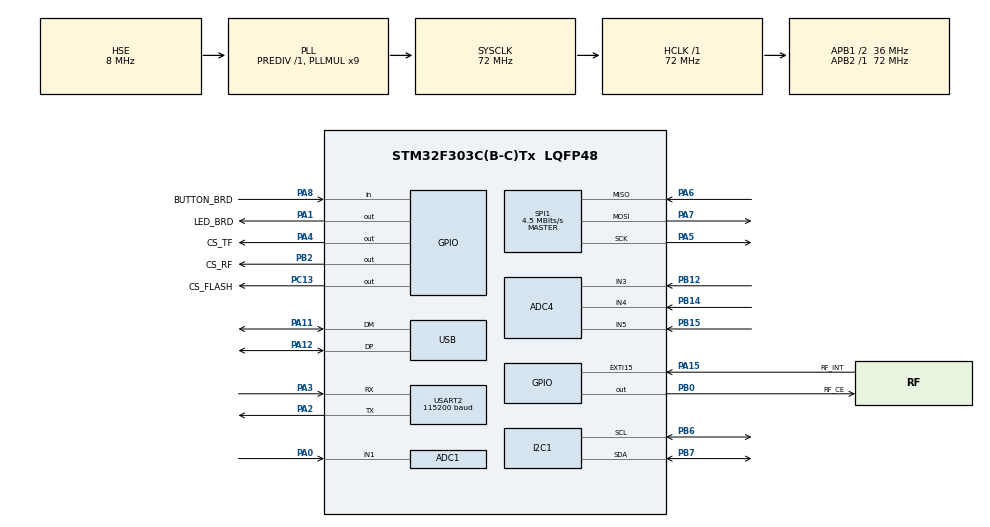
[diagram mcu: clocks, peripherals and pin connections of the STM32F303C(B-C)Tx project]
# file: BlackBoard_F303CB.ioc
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ADC1.Channel-0\#ChannelRegularConversion=ADC_CHANNEL_1
ADC1.NbrOfConversionFlag=1
ADC1.Offset-0\#ChannelRegularConversion=0
ADC1.OffsetNumber-0\#ChannelRegularConversion=ADC_OFFSET_NONE
ADC1.Rank-0\#ChannelRegularConversion=1
ADC1.SamplingTime-0\#ChannelRegularConversion=ADC_SAMPLETIME_1CYCLE_5
ADC1.master=1
ADC4.Channel-0\#ChannelRegularConversion=ADC_CHANNEL_3
ADC4.NbrOfConversionFlag=1
ADC4.Offset-0\#ChannelRegularConversion=0
ADC4.OffsetNumber-0\#ChannelRegularConversion=ADC_OFFSET_NONE
ADC4.Rank-0\#ChannelRegularConversion=1
ADC4.SamplingTime-0\#ChannelRegularConversion=ADC_SAMPLETIME_1CYCLE_5
Dma.Request0=USART2_RX
Dma.USART2_RX.0.Direction=DMA_PERIPH_TO_MEMORY
Dma.USART2_RX.0.Instance=DMA1_Channel6
Dma.USART2_RX.0.MemDataAlignment=DMA_MDATAALIGN_BYTE
Dma.USART2_RX.0.MemInc=DMA_MINC_ENABLE
Dma.USART2_RX.0.Mode=DMA_NORMAL
Dma.USART2_RX.0.PeriphDataAlignment=DMA_PDATAALIGN_BYTE
Dma.USART2_RX.0.PeriphInc=DMA_PINC_DISABLE
Dma.USART2_RX.0.Priority=DMA_PRIORITY_LOW
FREERTOS.Events01=EventComTask,Static,myEvent01ControlBlock
FREERTOS.Tasks01=defaultTask,24,128,Task1ms,Default,NULL,Static,defaultTaskBuffer,defaultTaskControlBlock;myTask02,8,128,Task10ms,Default,NULL,Static,myTask02Buffer,myTask02ControlBlock;Task_Comm,8,128,CommTask,Default,NULL,Static,myTask03Buffer,myTask03ControlBlock
I2C1.Timing=0x00201D2B
Mcu.Family=STM32F3
Mcu.Name=STM32F303C(B-C)Tx
Mcu.Package=LQFP48
Mcu.UserConstants=ESP_AT_RESPONSE_EVENT_FLAG_MASK,0x00000002uL;USB_EVENT_FLAG_MASK,0x00000004uL;ESP_AT_REPORT_EVENT_FLAG_MASK,0x00000001uL
NVIC.DMA1_Channel6_IRQn=true\:5\:0\:false\:false\:true\:true\:false\:true\:true
NVIC.PriorityGroup=NVIC_PRIORITYGROUP_4
NVIC.TIM6_DAC_IRQn=true\:15\:0\:false\:false\:true\:false\:false\:true\:true
NVIC.TimeBase=TIM6_DAC_IRQn
NVIC.TimeBaseIP=TIM6
NVIC.USART2_IRQn=true\:5\:0\:false\:false\:true\:true\:true\:true\:true
NVIC.USB_HP_CAN_TX_IRQn=true\:5\:0\:false\:false\:true\:true\:true\:true\:true
NVIC.USB_LP_CAN_RX0_IRQn=true\:5\:0\:false\:false\:true\:true\:false\:true\:true
PA0.Mode=IN1-Single-Ended
PA0.Signal=ADC1_IN1
PA1.GPIO_Label=LED_BRD
PA1.PinState=GPIO_PIN_SET
PA1.Signal=GPIO_Output
PA11.Mode=Device
PA11.Signal=USB_DM
PA12.Mode=Device
PA12.Signal=USB_DP
PA13.Mode=Serial_Wire
PA13.Signal=SYS_JTMS-SWDIO
PA14.Mode=Serial_Wire
PA14.Signal=SYS_JTCK-SWCLK
PA15.GPIO_Label=RF_INT
PA15.Signal=GPXTI15
PA2.Mode=Asynchronous
PA2.Signal=USART2_TX
PA3.Mode=Asynchronous
PA3.Signal=USART2_RX
PA4.GPIO_Label=CS_TF
PA4.Signal=GPIO_Output
PA5.Mode=Full_Duplex_Master
PA5.Signal=SPI1_SCK
PA6.Mode=Full_Duplex_Master
PA6.Signal=SPI1_MISO
PA7.Mode=Full_Duplex_Master
PA7.Signal=SPI1_MOSI
PA8.GPIO_Label=BUTTON_BRD
PA8.Signal=GPIO_Input
PB0.GPIO_Label=RF_CE
PB0.Signal=GPIO_Output
PB12.Mode=IN3-Single-Ended
PB12.Signal=ADC4_IN3
PB14.Mode=IN4-Single-Ended
PB14.Signal=ADC4_IN4
PB15.Mode=IN5-Single-Ended
PB15.Signal=ADC4_IN5
PB2.GPIO_Label=CS_RF
PB2.Signal=GPIO_Output
PB6.Mode=I2C
PB6.Signal=I2C1_SCL
PB7.Mode=I2C
PB7.Signal=I2C1_SDA
PC13.GPIO_Label=CS_FLASH
PC13.Signal=GPIO_Output
PC14-OSC32_IN.Mode=LSE-External-Oscillator
PC14-OSC32_IN.Signal=RCC_OSC32_IN
PC15-OSC32_OUT.Mode=LSE-External-Oscillator
PC15-OSC32_OUT.Signal=RCC_OSC32_OUT
PF0-OSC_IN.Mode=HSE-External-Oscillator
PF0-OSC_IN.Signal=RCC_OSC_IN
PF1-OSC_OUT.Mode=HSE-External-Oscillator
PF1-OSC_OUT.Signal=RCC_OSC_OUT
ProjectManager.HeapSize=0x200
ProjectManager.StackSize=0x400
ProjectManager.TargetToolchain=STM32CubeIDE
RCC.AHBFreq_Value=72000000
RCC.APB1CLKDivider=RCC_HCLK_DIV2
RCC.APB1Freq_Value=36000000
RCC.APB1TimFreq_Value=72000000
RCC.APB2Freq_Value=72000000
RCC.APB2TimFreq_Value=72000000
RCC.CortexFreq_Value=72000000
RCC.HCLKFreq_Value=72000000
RCC.HSE_VALUE=8000000
RCC.HSI_VALUE=8000000
RCC.PLLMUL=RCC_PLL_MUL9
RCC.PRESCALERUSB=RCC_USBCLKSOURCE_PLL_DIV1_5
RCC.SYSCLKFreq_VALUE=72000000
RCC.SYSCLKSourceVirtual=RCC_SYSCLKSOURCE_PLLCLK
RCC.USBFreq_Value=48000000
SPI1.BaudRatePrescaler=SPI_BAUDRATEPRESCALER_16
SPI1.CalculateBaudRate=4.5 MBits/s
SPI1.DataSize=SPI_DATASIZE_8BIT
SPI1.Direction=SPI_DIRECTION_2LINES
SPI1.Mode=SPI_MODE_MASTER
SPI1.VirtualType=VM_MASTER
USART2.BaudRate=115200
USART2.VirtualMode-Asynchronous=VM_ASYNC
USB_DEVICE.CLASS_NAME_FS=CDC
USB_DEVICE.VirtualMode=Cdc
USB_DEVICE.VirtualModeFS=Cdc_FS
VP_ADC1_TempSens_Input.Mode=IN-TempSens
VP_ADC1_Vbat_Input.Mode=IN-Vbat
VP_ADC4_Vref_Input.Mode=IN-Vrefint
VP_FREERTOS_VS_CMSIS_V2.Mode=CMSIS_V2
VP_SYS_VS_tim6.Mode=TIM6
VP_USB_DEVICE_VS_USB_DEVICE_CDC_FS.Mode=CDC_FS
board=custom

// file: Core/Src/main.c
/* USER CODE BEGIN Header */
/**
  ******************************************************************************
  * @file           : main.c
  * @brief          : Main program body
  ******************************************************************************
  * @attention
  *
  * Copyright (c) 2023 STMicroelectronics.
  * All rights reserved.
  *
  * This software is licensed under terms that can be found in the LICENSE file
  * in the root directory of this software component.
  * If no LICENSE file comes with this software, it is provided AS-IS.
  *
  ******************************************************************************
  */
/* USER CODE END Header */
#include "main.h"
#include "cmsis_os.h"
#include "usb_device.h"

/* USER CODE BEGIN Includes */
#include "flash.h"
#include "nrf24l01.h"
#include "esp8266_at.h"
/* USER CODE END Includes */

typedef StaticTask_t osStaticThreadDef_t;
typedef StaticEventGroup_t osStaticEventGroupDef_t;

/* USER CODE BEGIN PM */
#define USE_ESP8266 1

#define ESP_UART_DMA_BUFFER_SIZE 512u
#define ESP_RX_BUFFER_SIZE       2048u

#define ESP_EVENT_FLAG_MASK   0x00000001uL
/* USER CODE END PM */

ADC_HandleTypeDef hadc1;
ADC_HandleTypeDef hadc4;

I2C_HandleTypeDef hi2c1;

SPI_HandleTypeDef hspi1;

UART_HandleTypeDef huart2;
DMA_HandleTypeDef hdma_usart2_rx;

/* Definitions for defaultTask */
osThreadId_t defaultTaskHandle;
uint32_t defaultTaskBuffer[ 128 ];
osStaticThreadDef_t defaultTaskControlBlock;
const osThreadAttr_t defaultTask_attributes = {
  .name = "defaultTask",
  .cb_mem = &defaultTaskControlBlock,
  .cb_size = sizeof(defaultTaskControlBlock),
  .stack_mem = &defaultTaskBuffer[0],
  .stack_size = sizeof(defaultTaskBuffer),
  .priority = (osPriority_t) osPriorityNormal,
};
/* Definitions for myTask02 */
osThreadId_t myTask02Handle;
uint32_t myTask02Buffer[ 128 ];
osStaticThreadDef_t myTask02ControlBlock;
const osThreadAttr_t myTask02_attributes = {
  .name = "myTask02",
  .cb_mem = &myTask02ControlBlock,
  .cb_size = sizeof(myTask02ControlBlock),
  .stack_mem = &myTask02Buffer[0],
  .stack_size = sizeof(myTask02Buffer),
  .priority = (osPriority_t) osPriorityLow,
};
/* Definitions for Task_Comm */
osThreadId_t Task_CommHandle;
uint32_t myTask03Buffer[ 128 ];
osStaticThreadDef_t myTask03ControlBlock;
const osThreadAttr_t Task_Comm_attributes = {
  .name = "Task_Comm",
  .cb_mem = &myTask03ControlBlock,
  .cb_size = sizeof(myTask03ControlBlock),
  .stack_mem = &myTask03Buffer[0],
  .stack_size = sizeof(myTask03Buffer),
  .priority = (osPriority_t) osPriorityLow,
};
/* Definitions for EventComTask */
osEventFlagsId_t EventComTaskHandle;
osStaticEventGroupDef_t myEvent01ControlBlock;
const osEventFlagsAttr_t EventComTask_attributes = {
  .name = "EventComTask",
  .cb_mem = &myEvent01ControlBlock,
  .cb_size = sizeof(myEvent01ControlBlock),
};
/* USER CODE BEGIN PV */

NRF24L01_Handler_t RFHandler =
{
  .ptrHSpi = &hspi1,
  .portCS  = CS_RF_GPIO_Port,
  .pinCS   = CS_RF_Pin,
  .portCE  = RF_CE_GPIO_Port,
  .pinCE   = RF_CE_Pin
};

FLASH_Handler_t FlashHandler =
{
  .ptrHSpi = &hspi1,
  .portCS  = CS_FLASH_GPIO_Port,
  .pinCS   = CS_FLASH_Pin
};

char EspDmaBuffer[ESP_UART_DMA_BUFFER_SIZE];
char EspRxBuffer[ESP_RX_BUFFER_SIZE];

uint16_t oldPos = 0;
uint16_t newPos = 0;

bool  ESP_ResponseOK = 0u;
bool  ESP_MessageReceived = false;

uint8_t UsbCdcRxBuffer[128u];
/* USER CODE END PV */

void SystemClock_Config(void);
static void MX_GPIO_Init(void);
static void MX_DMA_Init(void);
static void MX_SPI1_Init(void);
static void MX_USART2_UART_Init(void);
static void MX_I2C1_Init(void);
static void MX_ADC1_Init(void);
static void MX_ADC4_Init(void);
void Task1ms(void *argument);
void Task10ms(void *argument);
void CommTask(void *argument);

/* USER CODE BEGIN 0 */
void HAL_UARTEx_RxEventCallback(UART_HandleTypeDef *huart, uint16_t Size)
{
  ESP_ResponseOK = false;
  if (huart->Instance == USART1)
  {
    /* Check if it is an OK: dont need to copy, just set the acknowledge flag  */
    if( strncmp(EspDmaBuffer, "\r\nOK\r\n", 6) )
    {
      ESP_ResponseOK = true;
    }
    else
    {
      oldPos = newPos;  // Update the last position before copying new data

      /* If the data in large and it is about to exceed the buffer size, we have to route it to the start of the buffer
       * This is to maintain the circular buffer
       * The old data in the main buffer will be overlapped
       */
      if (oldPos+Size > ESP_RX_BUFFER_SIZE)  // If the current position + new data size is greater than the main buffer
      {
        uint16_t datatocopy = ESP_RX_BUFFER_SIZE-oldPos;  // find out how much space is left in the main buffer
        memcpy ((uint8_t *)EspRxBuffer+oldPos, EspDmaBuffer, datatocopy);  // copy data in that remaining space

        oldPos = 0;  // point to the start of the buffer
        memcpy ((uint8_t *)EspRxBuffer, (uint8_t *)EspDmaBuffer+datatocopy, (Size-datatocopy));  // copy the remaining data
        newPos = (Size-datatocopy);  // update the position
      }

      /* if the current position + new data size is less than the main buffer
       * we will simply copy the data into the buffer and update the position
       */
      else
      {
        memcpy ((uint8_t *)EspRxBuffer+oldPos, EspDmaBuffer, Size);
        newPos = Size+oldPos;
      }
    }

    /* start the DMA again */
    HAL_UARTEx_ReceiveToIdle_DMA(&huart2, (uint8_t *) EspDmaBuffer, ESP_UART_DMA_BUFFER_SIZE);
    __HAL_DMA_DISABLE_IT(&hdma_usart2_rx, DMA_IT_HT);

    if( ESP_ResponseOK == false )
    {
      ESP_MessageReceived = true;
      osEventFlagsSet(EventComTaskHandle, ESP_EVENT_FLAG_MASK);
    }
  }
}
/* USER CODE END 0 */

int main(void)
{

  /* MCU Configuration--------------------------------------------------------*/

  /* Reset of all peripherals, Initializes the Flash interface and the Systick. */
  HAL_Init();

  /* Configure the system clock */
  SystemClock_Config();

  /* Initialize all configured peripherals */
  MX_GPIO_Init();
  MX_DMA_Init();
  MX_SPI1_Init();
  MX_USART2_UART_Init();
  MX_I2C1_Init();
  MX_ADC1_Init();
  MX_ADC4_Init();
  /* USER CODE BEGIN 2 */
  FLASH_Identification(&FlashHandler);
  NRF24L01_Init(&RFHandler);
#if (USE_ESP8266 == 1)
  ESP8266_Init(&huart2, EspRxBuffer);
  HAL_Delay(10u);
  HAL_UARTEx_ReceiveToIdle_DMA(&huart2, EspDmaBuffer, ESP_UART_DMA_BUFFER_SIZE);
  __HAL_DMA_DISABLE_IT(&hdma_usart2_rx, DMA_IT_HT);
#endif
  /* USER CODE END 2 */

  /* Init scheduler */
  osKernelInitialize();

  /* Create the thread(s) */
  /* creation of defaultTask */
  defaultTaskHandle = osThreadNew(Task1ms, NULL, &defaultTask_attributes);

  /* creation of myTask02 */
  myTask02Handle = osThreadNew(Task10ms, NULL, &myTask02_attributes);

  /* creation of Task_Comm */
  Task_CommHandle = osThreadNew(CommTask, NULL, &Task_Comm_attributes);

  /* Create the event(s) */
  /* creation of EventComTask */
  EventComTaskHandle = osEventFlagsNew(&EventComTask_attributes);

  /* Start scheduler */
  osKernelStart();

  /* We should never get here as control is now taken by the scheduler */

  /* Infinite loop */
  while (1)
  {

  }
}

void SystemClock_Config(void)
{
  RCC_OscInitTypeDef RCC_OscInitStruct = {0};
  RCC_ClkInitTypeDef RCC_ClkInitStruct = {0};
  RCC_PeriphCLKInitTypeDef PeriphClkInit = {0};

  /** Initializes the RCC Oscillators according to the specified parameters
  * in the RCC_OscInitTypeDef structure.
  */
  RCC_OscInitStruct.OscillatorType = RCC_OSCILLATORTYPE_HSI|RCC_OSCILLATORTYPE_HSE;
  RCC_OscInitStruct.HSEState = RCC_HSE_ON;
  RCC_OscInitStruct.HSEPredivValue = RCC_HSE_PREDIV_DIV1;
  RCC_OscInitStruct.HSIState = RCC_HSI_ON;
  RCC_OscInitStruct.HSICalibrationValue = RCC_HSICALIBRATION_DEFAULT;
  RCC_OscInitStruct.PLL.PLLState = RCC_PLL_ON;
  RCC_OscInitStruct.PLL.PLLSource = RCC_PLLSOURCE_HSE;
  RCC_OscInitStruct.PLL.PLLMUL = RCC_PLL_MUL9;
  if (HAL_RCC_OscConfig(&RCC_OscInitStruct) != HAL_OK)
  {
    Error_Handler();
  }

  /** Initializes the CPU, AHB and APB buses clocks
  */
  RCC_ClkInitStruct.ClockType = RCC_CLOCKTYPE_HCLK|RCC_CLOCKTYPE_SYSCLK
                              |RCC_CLOCKTYPE_PCLK1|RCC_CLOCKTYPE_PCLK2;
  RCC_ClkInitStruct.SYSCLKSource = RCC_SYSCLKSOURCE_PLLCLK;
  RCC_ClkInitStruct.AHBCLKDivider = RCC_SYSCLK_DIV1;
  RCC_ClkInitStruct.APB1CLKDivider = RCC_HCLK_DIV2;
  RCC_ClkInitStruct.APB2CLKDivider = RCC_HCLK_DIV1;

  if (HAL_RCC_ClockConfig(&RCC_ClkInitStruct, FLASH_LATENCY_2) != HAL_OK)
  {
    Error_Handler();
  }
  PeriphClkInit.PeriphClockSelection = RCC_PERIPHCLK_USB|RCC_PERIPHCLK_USART2
                              |RCC_PERIPHCLK_I2C1|RCC_PERIPHCLK_ADC12
                              |RCC_PERIPHCLK_ADC34;
  PeriphClkInit.Usart2ClockSelection = RCC_USART2CLKSOURCE_PCLK1;
  PeriphClkInit.Adc12ClockSelection = RCC_ADC12PLLCLK_DIV1;
  PeriphClkInit.Adc34ClockSelection = RCC_ADC34PLLCLK_DIV1;
  PeriphClkInit.I2c1ClockSelection = RCC_I2C1CLKSOURCE_HSI;
  PeriphClkInit.USBClockSelection = RCC_USBCLKSOURCE_PLL_DIV1_5;
  if (HAL_RCCEx_PeriphCLKConfig(&PeriphClkInit) != HAL_OK)
  {
    Error_Handler();
  }
}

static void MX_ADC1_Init(void)
{

  ADC_MultiModeTypeDef multimode = {0};
  ADC_ChannelConfTypeDef sConfig = {0};

  /** Common config
  */
  hadc1.Instance = ADC1;
  hadc1.Init.ClockPrescaler = ADC_CLOCK_ASYNC_DIV1;
  hadc1.Init.Resolution = ADC_RESOLUTION_12B;
  hadc1.Init.ScanConvMode = ADC_SCAN_DISABLE;
  hadc1.Init.ContinuousConvMode = DISABLE;
  hadc1.Init.DiscontinuousConvMode = DISABLE;
  hadc1.Init.ExternalTrigConvEdge = ADC_EXTERNALTRIGCONVEDGE_NONE;
  hadc1.Init.ExternalTrigConv = ADC_SOFTWARE_START;
  hadc1.Init.DataAlign = ADC_DATAALIGN_RIGHT;
  hadc1.Init.NbrOfConversion = 1;
  hadc1.Init.DMAContinuousRequests = DISABLE;
  hadc1.Init.EOCSelection = ADC_EOC_SINGLE_CONV;
  hadc1.Init.LowPowerAutoWait = DISABLE;
  hadc1.Init.Overrun = ADC_OVR_DATA_OVERWRITTEN;
  if (HAL_ADC_Init(&hadc1) != HAL_OK)
  {
    Error_Handler();
  }

  /** Configure the ADC multi-mode
  */
  multimode.Mode = ADC_MODE_INDEPENDENT;
  if (HAL_ADCEx_MultiModeConfigChannel(&hadc1, &multimode) != HAL_OK)
  {
    Error_Handler();
  }

  /** Configure Regular Channel
  */
  sConfig.Channel = ADC_CHANNEL_1;
  sConfig.Rank = ADC_REGULAR_RANK_1;
  sConfig.SingleDiff = ADC_SINGLE_ENDED;
  sConfig.SamplingTime = ADC_SAMPLETIME_1CYCLE_5;
  sConfig.OffsetNumber = ADC_OFFSET_NONE;
  sConfig.Offset = 0;
  if (HAL_ADC_ConfigChannel(&hadc1, &sConfig) != HAL_OK)
  {
    Error_Handler();
  }

}

static void MX_ADC4_Init(void)
{

  ADC_ChannelConfTypeDef sConfig = {0};

  /** Common config
  */
  hadc4.Instance = ADC4;
  hadc4.Init.ClockPrescaler = ADC_CLOCK_ASYNC_DIV1;
  hadc4.Init.Resolution = ADC_RESOLUTION_12B;
  hadc4.Init.ScanConvMode = ADC_SCAN_DISABLE;
  hadc4.Init.ContinuousConvMode = DISABLE;
  hadc4.Init.DiscontinuousConvMode = DISABLE;
  hadc4.Init.ExternalTrigConvEdge = ADC_EXTERNALTRIGCONVEDGE_NONE;
  hadc4.Init.ExternalTrigConv = ADC_SOFTWARE_START;
  hadc4.Init.DataAlign = ADC_DATAALIGN_RIGHT;
  hadc4.Init.NbrOfConversion = 1;
  hadc4.Init.DMAContinuousRequests = DISABLE;
  hadc4.Init.EOCSelection = ADC_EOC_SINGLE_CONV;
  hadc4.Init.LowPowerAutoWait = DISABLE;
  hadc4.Init.Overrun = ADC_OVR_DATA_OVERWRITTEN;
  if (HAL_ADC_Init(&hadc4) != HAL_OK)
  {
    Error_Handler();
  }

  /** Configure Regular Channel
  */
  sConfig.Channel = ADC_CHANNEL_3;
  sConfig.Rank = ADC_REGULAR_RANK_1;
  sConfig.SingleDiff = ADC_SINGLE_ENDED;
  sConfig.SamplingTime = ADC_SAMPLETIME_1CYCLE_5;
  sConfig.OffsetNumber = ADC_OFFSET_NONE;
  sConfig.Offset = 0;
  if (HAL_ADC_ConfigChannel(&hadc4, &sConfig) != HAL_OK)
  {
    Error_Handler();
  }

}

static void MX_I2C1_Init(void)
{

  hi2c1.Instance = I2C1;
  hi2c1.Init.Timing = 0x00201D2B;
  hi2c1.Init.OwnAddress1 = 0;
  hi2c1.Init.AddressingMode = I2C_ADDRESSINGMODE_7BIT;
  hi2c1.Init.DualAddressMode = I2C_DUALADDRESS_DISABLE;
  hi2c1.Init.OwnAddress2 = 0;
  hi2c1.Init.OwnAddress2Masks = I2C_OA2_NOMASK;
  hi2c1.Init.GeneralCallMode = I2C_GENERALCALL_DISABLE;
  hi2c1.Init.NoStretchMode = I2C_NOSTRETCH_DISABLE;
  if (HAL_I2C_Init(&hi2c1) != HAL_OK)
  {
    Error_Handler();
  }

  /** Configure Analogue filter
  */
  if (HAL_I2CEx_ConfigAnalogFilter(&hi2c1, I2C_ANALOGFILTER_ENABLE) != HAL_OK)
  {
    Error_Handler();
  }

  /** Configure Digital filter
  */
  if (HAL_I2CEx_ConfigDigitalFilter(&hi2c1, 0) != HAL_OK)
  {
    Error_Handler();
  }

}

static void MX_SPI1_Init(void)
{

  /* SPI1 parameter configuration*/
  hspi1.Instance = SPI1;
  hspi1.Init.Mode = SPI_MODE_MASTER;
  hspi1.Init.Direction = SPI_DIRECTION_2LINES;
  hspi1.Init.DataSize = SPI_DATASIZE_8BIT;
  hspi1.Init.CLKPolarity = SPI_POLARITY_LOW;
  hspi1.Init.CLKPhase = SPI_PHASE_1EDGE;
  hspi1.Init.NSS = SPI_NSS_SOFT;
  hspi1.Init.BaudRatePrescaler = SPI_BAUDRATEPRESCALER_16;
  hspi1.Init.FirstBit = SPI_FIRSTBIT_MSB;
  hspi1.Init.TIMode = SPI_TIMODE_DISABLE;
  hspi1.Init.CRCCalculation = SPI_CRCCALCULATION_DISABLE;
  hspi1.Init.CRCPolynomial = 7;
  hspi1.Init.CRCLength = SPI_CRC_LENGTH_DATASIZE;
  hspi1.Init.NSSPMode = SPI_NSS_PULSE_ENABLE;
  if (HAL_SPI_Init(&hspi1) != HAL_OK)
  {
    Error_Handler();
  }

}

static void MX_USART2_UART_Init(void)
{

  huart2.Instance = USART2;
  huart2.Init.BaudRate = 115200;
  huart2.Init.WordLength = UART_WORDLENGTH_8B;
  huart2.Init.StopBits = UART_STOPBITS_1;
  huart2.Init.Parity = UART_PARITY_NONE;
  huart2.Init.Mode = UART_MODE_TX_RX;
  huart2.Init.HwFlowCtl = UART_HWCONTROL_NONE;
  huart2.Init.OverSampling = UART_OVERSAMPLING_16;
  huart2.Init.OneBitSampling = UART_ONE_BIT_SAMPLE_DISABLE;
  huart2.AdvancedInit.AdvFeatureInit = UART_ADVFEATURE_NO_INIT;
  if (HAL_UART_Init(&huart2) != HAL_OK)
  {
    Error_Handler();
  }

}

static void MX_DMA_Init(void)
{

  /* DMA controller clock enable */
  __HAL_RCC_DMA1_CLK_ENABLE();

  /* DMA interrupt init */
  /* DMA1_Channel6_IRQn interrupt configuration */
  HAL_NVIC_SetPriority(DMA1_Channel6_IRQn, 5, 0);
  HAL_NVIC_EnableIRQ(DMA1_Channel6_IRQn);

}

static void MX_GPIO_Init(void)
{
  GPIO_InitTypeDef GPIO_InitStruct = {0};

  /* GPIO Ports Clock Enable */
  __HAL_RCC_GPIOC_CLK_ENABLE();
  __HAL_RCC_GPIOF_CLK_ENABLE();
  __HAL_RCC_GPIOA_CLK_ENABLE();
  __HAL_RCC_GPIOB_CLK_ENABLE();

  /*Configure GPIO pin Output Level */
  HAL_GPIO_WritePin(CS_FLASH_GPIO_Port, CS_FLASH_Pin, GPIO_PIN_RESET);

  /*Configure GPIO pin Output Level */
  HAL_GPIO_WritePin(LED_BRD_GPIO_Port, LED_BRD_Pin, GPIO_PIN_SET);

  /*Configure GPIO pin Output Level */
  HAL_GPIO_WritePin(CS_TF_GPIO_Port, CS_TF_Pin, GPIO_PIN_RESET);

  /*Configure GPIO pin Output Level */
  HAL_GPIO_WritePin(GPIOB, RF_CE_Pin|CS_RF_Pin, GPIO_PIN_RESET);

  /*Configure GPIO pin : CS_FLASH_Pin */
  GPIO_InitStruct.Pin = CS_FLASH_Pin;
  GPIO_InitStruct.Mode = GPIO_MODE_OUTPUT_PP;
  GPIO_InitStruct.Pull = GPIO_NOPULL;
  GPIO_InitStruct.Speed = GPIO_SPEED_FREQ_LOW;
  HAL_GPIO_Init(CS_FLASH_GPIO_Port, &GPIO_InitStruct);

  /*Configure GPIO pins : LED_BRD_Pin CS_TF_Pin */
  GPIO_InitStruct.Pin = LED_BRD_Pin|CS_TF_Pin;
  GPIO_InitStruct.Mode = GPIO_MODE_OUTPUT_PP;
  GPIO_InitStruct.Pull = GPIO_NOPULL;
  GPIO_InitStruct.Speed = GPIO_SPEED_FREQ_LOW;
  HAL_GPIO_Init(GPIOA, &GPIO_InitStruct);

  /*Configure GPIO pins : RF_CE_Pin CS_RF_Pin */
  GPIO_InitStruct.Pin = RF_CE_Pin|CS_RF_Pin;
  GPIO_InitStruct.Mode = GPIO_MODE_OUTPUT_PP;
  GPIO_InitStruct.Pull = GPIO_NOPULL;
  GPIO_InitStruct.Speed = GPIO_SPEED_FREQ_LOW;
  HAL_GPIO_Init(GPIOB, &GPIO_InitStruct);

  /*Configure GPIO pin : BUTTON_BRD_Pin */
  GPIO_InitStruct.Pin = BUTTON_BRD_Pin;
  GPIO_InitStruct.Mode = GPIO_MODE_INPUT;
  GPIO_InitStruct.Pull = GPIO_NOPULL;
  HAL_GPIO_Init(BUTTON_BRD_GPIO_Port, &GPIO_InitStruct);

  /*Configure GPIO pin : RF_INT_Pin */
  GPIO_InitStruct.Pin = RF_INT_Pin;
  GPIO_InitStruct.Mode = GPIO_MODE_IT_RISING;
  GPIO_InitStruct.Pull = GPIO_NOPULL;
  HAL_GPIO_Init(RF_INT_GPIO_Port, &GPIO_InitStruct);

}

void Task1ms(void *argument)
{
  /* init code for USB_DEVICE */
  MX_USB_DEVICE_Init();
  for(;;)
  {
    osDelay(1);
  }
}

void Task10ms(void *argument)
{
  /* USER CODE BEGIN Task10ms */
  /* Infinite loop */
  for(;;)
  {
    osDelay(500);
    HAL_GPIO_TogglePin(LED_BRD_GPIO_Port, LED_BRD_Pin);
  }
  /* USER CODE END Task10ms */
}

void CommTask(void *argument)
{
  /* USER CODE BEGIN CommTask */
  uint32_t eventFlags = 0u;
  /* Infinite loop */
  for(;;)
  {
    eventFlags = osEventFlagsWait(EventComTaskHandle, ESP_AT_REPORT_EVENT_FLAG_MASK | ESP_AT_RESPONSE_EVENT_FLAG_MASK | USB_EVENT_FLAG_MASK, osFlagsWaitAny, osWaitForever);
    if( (eventFlags & ESP_AT_REPORT_EVENT_FLAG_MASK) == ESP_AT_REPORT_EVENT_FLAG_MASK )
    {
      // Process the incoming data that is not OK
      ESP8266_AtReportHandler(EspRxBuffer);
      osEventFlagsClear(EventComTaskHandle, ESP_AT_REPORT_EVENT_FLAG_MASK);
    }
    else if( (eventFlags & ESP_AT_RESPONSE_EVENT_FLAG_MASK) == ESP_AT_RESPONSE_EVENT_FLAG_MASK )
    {
      // Process the incoming data that is not OK
      ESP8266_AtResponseHandler(EspRxBuffer);
      osEventFlagsClear(EventComTaskHandle, ESP_AT_RESPONSE_EVENT_FLAG_MASK);
    }
    else if( (eventFlags & USB_EVENT_FLAG_MASK) == USB_EVENT_FLAG_MASK )
    {
      // Process the incoming data that is not OK
      //PCUART_ProcessRxCmd(UsbCdcRxBuffer);
      // clear buffer
      memset(UsbCdcRxBuffer, 0, sizeof(UsbCdcRxBuffer));
      osEventFlagsClear(EventComTaskHandle, USB_EVENT_FLAG_MASK);
    }
    osDelay(1);
  }
  /* USER CODE END CommTask */
}

void HAL_TIM_PeriodElapsedCallback(TIM_HandleTypeDef *htim)
{
  if (htim->Instance == TIM6)
  {
    HAL_IncTick();
  }
}

void Error_Handler(void)
{
  __disable_irq();
  while (1)
  {
  }
}
